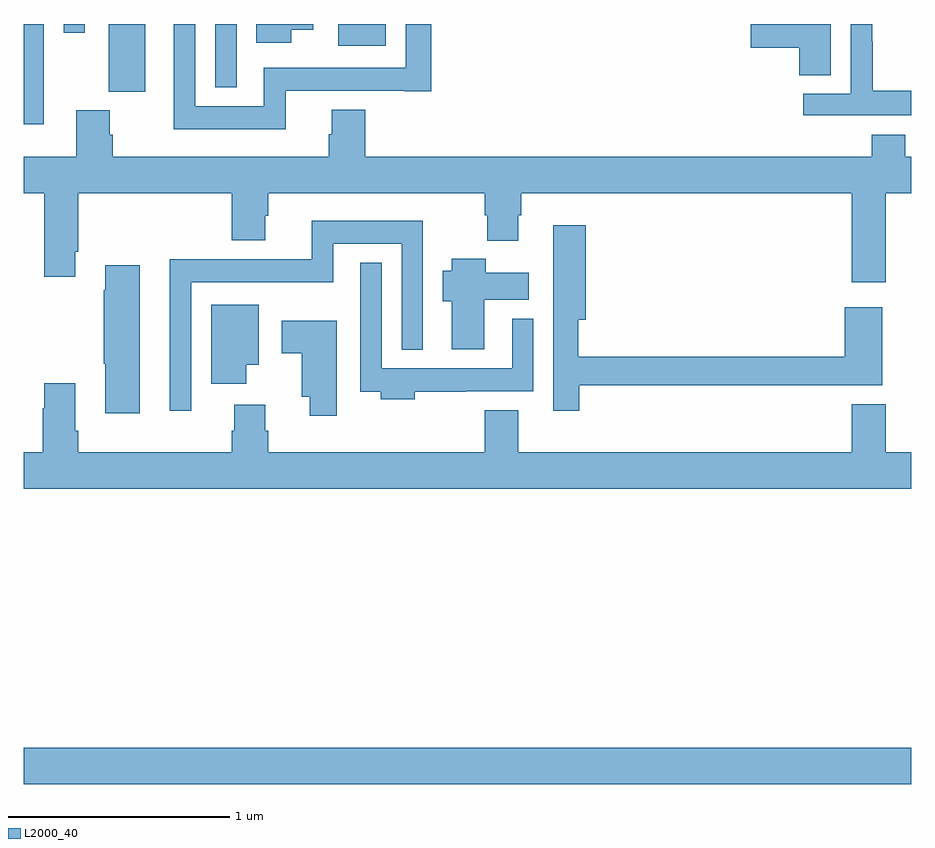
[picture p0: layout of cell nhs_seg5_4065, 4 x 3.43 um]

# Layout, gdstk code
import gdstk
lib = gdstk.Library(unit=1e-6, precision=1e-09)
def R(c, l, rs):  # rectangles x0, y0, x1, y1
    for r in rs: c.add(gdstk.rectangle(r[:2], r[2:], *l))
def P(c, l, *ps):  # polygons
    for p in ps: c.add(gdstk.Polygon(p, *l))
L2000_40 = (2000, 40)

nhs_seg5_4065 = lib.new_cell('nhs_seg5_4065')
R(nhs_seg5_4065, L2000_40, [(349,911.372,353,911.536), (349.382,914.494,349.546,914.799), (349.863,914.513,349.959,914.799), (350.417,914.702,350.632,914.799), (349.179,914.76,349.275,914.799)])
P(nhs_seg5_4065, L2000_40, [(352.639,914.799),(352.278,914.799),(352.278,914.693),(352.496,914.693),(352.496,914.569),(352.639,914.569)],
  [(349.09,914.666),(349.089,914.666),(349.089,914.799),(349,914.799),(349,914.346),(349.09,914.346)],
  [(350.18,914.498),(350.714,914.498),(350.714,914.496),(350.837,914.496),(350.837,914.799),(350.721,914.799),(350.721,914.602),(350.082,914.602),(350.082,914.428),(349.773,914.428),(349.773,914.799),(349.676,914.799),(349.676,914.324),(350.18,914.324)],
  [(353,914.497),(352.827,914.497),(352.827,914.72),(352.824,914.72),(352.824,914.799),(352.728,914.799),(352.728,914.484),(352.515,914.484),(352.515,914.388),(353,914.388)],
  [(350.206,914.774),(350.305,914.774),(350.305,914.799),(350.048,914.799),(350.048,914.715),(350.206,914.715)],
  [(352.885,914.036),(353,914.036),(353,914.2),(352.975,914.2),(352.975,914.299),(352.823,914.299),(352.823,914.2),(350.54,914.2),(350.54,914.413),(350.387,914.413),(350.387,914.301),(350.375,914.301),(350.375,914.2),(349.4,914.2),(349.4,914.3),(349.387,914.3),(349.387,914.409),(349.235,914.409),(349.235,914.2),(349,914.2),(349,914.036),(349.091,914.036),(349.091,913.659),(349.231,913.659),(349.231,913.771),(349.244,913.771),(349.244,914.036),(349.937,914.036),(349.937,913.823),(350.089,913.823),(350.089,913.935),(350.102,913.935),(350.102,914.036),(351.077,914.036),(351.077,913.937),(351.09,913.937),(351.09,913.821),(351.229,913.821),(351.229,913.937),(351.242,913.937),(351.242,914.036),(352.733,914.036),(352.733,913.635),(352.885,913.635)],
  [(349.755,913.634),(350.394,913.634),(350.394,913.808),(350.703,913.808),(350.703,913.331),(350.799,913.331),(350.799,913.912),(350.297,913.912),(350.297,913.738),(349.658,913.738),(349.658,913.056),(349.755,913.056)],
  [(351.503,913.17),(352.87,913.17),(352.87,913.522),(352.7,913.522),(352.7,913.298),(351.499,913.298),(351.499,913.466),(351.533,913.466),(351.533,913.891),(351.386,913.891),(351.386,913.57),(351.387,913.57),(351.387,913.056),(351.503,913.056)],
  [(351.076,913.556),(351.277,913.556),(351.277,913.678),(351.083,913.678),(351.083,913.74),(350.93,913.74),(350.93,913.686),(350.888,913.686),(350.888,913.549),(350.93,913.549),(350.93,913.332),(351.076,913.332)],
  [(350.762,913.14),(350.993,913.14),(350.993,913.142),(351.297,913.142),(351.297,913.471),(351.201,913.471),(351.201,913.246),(350.613,913.246),(350.613,913.723),(350.517,913.723),(350.517,913.14),(350.609,913.14),(350.609,913.106),(350.762,913.106)],
  [(349.522,913.711),(349.367,913.711),(349.367,913.598),(349.36,913.598),(349.36,913.267),(349.367,913.267),(349.367,913.044),(349.522,913.044)],
  [(350.002,913.262),(350.059,913.262),(350.059,913.534),(349.844,913.534),(349.844,913.176),(350.002,913.176)],
  [(350.41,913.462),(350.163,913.462),(350.163,913.315),(350.252,913.315),(350.252,913.118),(350.288,913.118),(350.288,913.032),(350.41,913.032)],
  [(353,912.868),(352.885,912.868),(352.885,913.084),(352.733,913.084),(352.733,912.868),(351.229,912.868),(351.229,913.057),(351.077,913.057),(351.077,912.868),(350.102,912.868),(350.102,912.966),(350.089,912.966),(350.089,913.081),(349.949,913.081),(349.949,912.966),(349.937,912.966),(349.937,912.868),(349.244,912.868),(349.244,912.964),(349.231,912.964),(349.231,913.18),(349.091,913.18),(349.091,913.067),(349.084,913.067),(349.084,912.868),(349,912.868),(349,912.704),(353,912.704)])

lib.write_gds('nhs_seg5_4065.gds')
